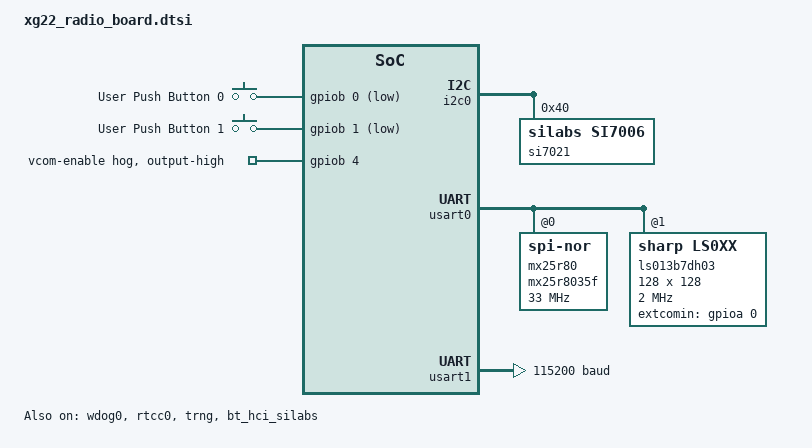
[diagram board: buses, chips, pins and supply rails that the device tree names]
/*
 * Copyright (c) 2025 Silicon Laboratories Inc.
 *
 * SPDX-License-Identifier: Apache-2.0
 */

#include <zephyr/dt-bindings/input/input-event-codes.h>
#include <zephyr/dt-bindings/pwm/pwm.h>
#include <zephyr/dt-bindings/regulator/silabs_dcdc.h>
#include "xg22_radio_board-pinctrl.dtsi"

/ {
	chosen {
		zephyr,bt-hci = &bt_hci_silabs;
		zephyr,code-partition = &slot0_partition;
		zephyr,console = &usart1;
		zephyr,display = &ls013b7dh03;
		zephyr,flash = &flash0;
		zephyr,shell-uart = &usart1;
		zephyr,sram = &sram0;
		zephyr,uart-pipe = &usart1;
	};

	aliases {
		dht0 = &si7021;
		spi-flash0 = &mx25r80;
		sw0 = &button0;
		sw1 = &button1;
		watchdog0 = &wdog0;
	};

	buttons {
		compatible = "gpio-keys";

		button0: button_0 {
			gpios = <&gpiob 0 GPIO_ACTIVE_LOW>;
			label = "User Push Button 0";
			zephyr,code = <INPUT_KEY_0>;
		};

		button1: button_1 {
			gpios = <&gpiob 1 GPIO_ACTIVE_LOW>;
			label = "User Push Button 1";
			zephyr,code = <INPUT_KEY_1>;
		};
	};
};

&cpu0 {
	clock-frequency = <76800000>;
};

&dcdc {
	regulator-boot-on;
	regulator-initial-mode = <SILABS_DCDC_MODE_BUCK>;
	status = "okay";
};

&itm {
	pinctrl-0 = <&itm_default>;
	pinctrl-names = "default";
	swo-ref-frequency = <DT_FREQ_K(76800)>;
};

&hfrcodpll {
	clock-frequency = <DT_FREQ_K(76800)>;
	clocks = <&hfxo>;
	dpll-autorecover;
	dpll-edge = "fall";
	dpll-lock = "phase";
	dpll-m = <1919>;
	dpll-n = <3839>;
};

&i2c0 {
	pinctrl-0 = <&i2c0_default>;
	pinctrl-names = "default";
	status = "okay";

	si7021: si7021@40 {
		compatible = "silabs,si7006";
		reg = <0x40>;
	};
};

&usart0 {
	#address-cells = <1>;
	#size-cells = <0>;
	clock-frequency = <DT_FREQ_M(8)>;
	pinctrl-0 = <&usart0_default>;
	pinctrl-names = "default";
	status = "okay";

	cs-gpios = <&gpioa 4 GPIO_ACTIVE_LOW>, <&gpioc 6 GPIO_ACTIVE_HIGH>;

	mx25r80: mx25r8035f@0 {
		compatible = "jedec,spi-nor";
		reg = <0>;
		dpd-wakeup-sequence = <30000 20 35000>;
		has-dpd;
		jedec-id = [c2 28 14];
		mxicy,mx25r-power-mode = "low-power";
		size = <0x800000>;
		spi-max-frequency = <DT_FREQ_M(33)>;
		t-enter-dpd = <0>;
		zephyr,pm-device-runtime-auto;
	};

	ls013b7dh03: ls0xx@1 {
		compatible = "sharp,ls0xx";
		reg = <1>;
		height = <128>;
		spi-max-frequency = <DT_FREQ_M(2)>;
		width = <128>;
		extcomin-gpios = <&gpioa 0 GPIO_ACTIVE_HIGH>;
		extcomin-frequency = <60>;
	};
};

&usart1 {
	current-speed = <115200>;
	pinctrl-0 = <&usart1_default>;
	pinctrl-names = "default";
	status = "okay";
};

&gpio {
	status = "okay";
};

&gpioa {
	status = "okay";
};

&gpiob {
	status = "okay";

	vcom-enable {
		gpio-hog;
		gpios = <4 GPIO_ACTIVE_HIGH>;
		output-high;
	};
};

&gpioc {
	status = "okay";
};

&gpiod {
	status = "okay";
};

&wdog0 {
	status = "okay";
};

&rtcc0 {
	status = "okay";
};

&trng {
	status = "okay";
};

&bt_hci_silabs {
	status = "okay";
};

&flash0 {
	partitions {
		compatible = "fixed-partitions";
		#address-cells = <1>;
		#size-cells = <1>;

		boot_partition: partition@0 {
			reg = <0x00000000 DT_SIZE_K(48)>;
			label = "mcuboot";
		};

		slot0_partition: partition@c000 {
			reg = <0x0000c000 DT_SIZE_K(224)>;
			label = "image-0";
		};

		slot1_partition: partition@44000 {
			reg = <0x00044000 DT_SIZE_K(224)>;
			label = "image-1";
		};

		storage_partition: partition@7c000 {
			reg = <0x0007c000 DT_SIZE_K(16)>;
			label = "storage";
		};
	};
};
